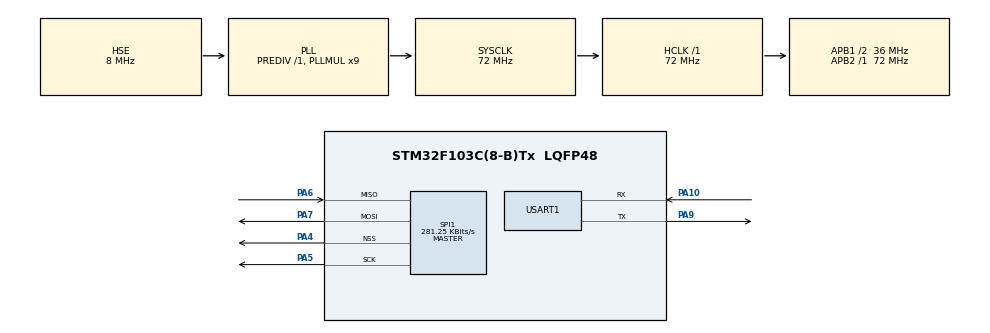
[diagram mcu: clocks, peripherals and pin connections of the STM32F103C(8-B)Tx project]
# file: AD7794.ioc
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Mcu.Family=STM32F1
Mcu.Name=STM32F103C(8-B)Tx
Mcu.Package=LQFP48
NVIC.PriorityGroup=NVIC_PRIORITYGROUP_4
NVIC.USART1_IRQn=true\:0\:0\:false\:false\:true\:true\:true\:true
PA10.Mode=Asynchronous
PA10.Signal=USART1_RX
PA13.Mode=Serial_Wire
PA13.Signal=SYS_JTMS-SWDIO
PA14.Mode=Serial_Wire
PA14.Signal=SYS_JTCK-SWCLK
PA4.Mode=NSS_Signal_Hard_Output
PA4.Signal=SPI1_NSS
PA5.Mode=Full_Duplex_Master
PA5.Signal=SPI1_SCK
PA6.Mode=Full_Duplex_Master
PA6.Signal=SPI1_MISO
PA7.Mode=Full_Duplex_Master
PA7.Signal=SPI1_MOSI
PA9.Mode=Asynchronous
PA9.Signal=USART1_TX
PC14-OSC32_IN.Mode=LSE-External-Oscillator
PC14-OSC32_IN.Signal=RCC_OSC32_IN
PC15-OSC32_OUT.Mode=LSE-External-Oscillator
PC15-OSC32_OUT.Signal=RCC_OSC32_OUT
PD0-OSC_IN.Mode=HSE-External-Oscillator
PD0-OSC_IN.Signal=RCC_OSC_IN
PD1-OSC_OUT.Mode=HSE-External-Oscillator
PD1-OSC_OUT.Signal=RCC_OSC_OUT
ProjectManager.HeapSize=0x200
ProjectManager.StackSize=0x400
ProjectManager.TargetToolchain=Makefile
RCC.AHBFreq_Value=72000000
RCC.APB1CLKDivider=RCC_HCLK_DIV2
RCC.APB1Freq_Value=36000000
RCC.APB1TimFreq_Value=72000000
RCC.APB2Freq_Value=72000000
RCC.APB2TimFreq_Value=72000000
RCC.HCLKFreq_Value=72000000
RCC.PLLMUL=RCC_PLL_MUL9
RCC.PLLSourceVirtual=RCC_PLLSOURCE_HSE
RCC.SYSCLKFreq_VALUE=72000000
RCC.SYSCLKSource=RCC_SYSCLKSOURCE_PLLCLK
RCC.USBFreq_Value=72000000
SPI1.BaudRatePrescaler=SPI_BAUDRATEPRESCALER_256
SPI1.CLKPhase=SPI_PHASE_2EDGE
SPI1.CLKPolarity=SPI_POLARITY_HIGH
SPI1.CalculateBaudRate=281.25 KBits/s
SPI1.Direction=SPI_DIRECTION_2LINES
SPI1.Mode=SPI_MODE_MASTER
SPI1.VirtualNSS=VM_NSSHARD
SPI1.VirtualType=VM_MASTER
USART1.VirtualMode=VM_ASYNC
board=custom

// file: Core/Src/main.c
/* USER CODE BEGIN Header */
/**
  ******************************************************************************
  * @file           : main.c
  * @brief          : Main program body
  ******************************************************************************
  * @attention
  *
  * Copyright (c) 2023 STMicroelectronics.
  * All rights reserved.
  *
  * This software is licensed under terms that can be found in the LICENSE file
  * in the root directory of this software component.
  * If no LICENSE file comes with this software, it is provided AS-IS.
  *
  ******************************************************************************
  */
/* USER CODE END Header */
#include "main.h"
#include "spi.h"
#include "usart.h"
#include "gpio.h"

/* USER CODE BEGIN Includes */
#include "AD7794A.h"
#include <stdio.h>
/* USER CODE END Includes */

/* USER CODE BEGIN PV */
char str[32];
/* USER CODE END PV */

void SystemClock_Config(void);

int main(void)
{

  /* MCU Configuration--------------------------------------------------------*/

  /* Reset of all peripherals, Initializes the Flash interface and the Systick. */
  HAL_Init();

  /* Configure the system clock */
  SystemClock_Config();

  /* Initialize all configured peripherals */
  MX_GPIO_Init();
  MX_SPI1_Init();
  MX_USART1_UART_Init();

  /* USER CODE BEGIN 2 */
  HAL_Delay(5000);

  AD7794_Init();
  HAL_UART_Transmit(&huart1,"\n\rAfter Init:\n\r\n", 16, 1000);
  Read_All_Regs();
  /* USER CODE END 2 */

  /* Infinite loop */
  /* USER CODE BEGIN WHILE */
  while (1)
  {

    uint32_t Data[7];
    HAL_Delay(5000);

    for(uint8_t i = 0; i < 7; i++)
    {
      Data[i] = AD7794_Single_Conversion(i);
    }

    for(uint8_t i = 0; i < 7; i++)
    {
      sprintf(str, "Value[%d] = ", i);
      HAL_UART_Transmit(&huart1, str, strlen(str), 1000);
      sprintf(str, "0x%08x\n", Data[i]);
      HAL_UART_Transmit(&huart1, str, strlen(str), 1000);
    }

    /* USER CODE END WHILE */

  }
}

void SystemClock_Config(void)
{
  RCC_OscInitTypeDef RCC_OscInitStruct = {0};
  RCC_ClkInitTypeDef RCC_ClkInitStruct = {0};

  /** Initializes the RCC Oscillators according to the specified parameters
  * in the RCC_OscInitTypeDef structure.
  */
  RCC_OscInitStruct.OscillatorType = RCC_OSCILLATORTYPE_HSE;
  RCC_OscInitStruct.HSEState = RCC_HSE_ON;
  RCC_OscInitStruct.HSEPredivValue = RCC_HSE_PREDIV_DIV1;
  RCC_OscInitStruct.HSIState = RCC_HSI_ON;
  RCC_OscInitStruct.PLL.PLLState = RCC_PLL_ON;
  RCC_OscInitStruct.PLL.PLLSource = RCC_PLLSOURCE_HSE;
  RCC_OscInitStruct.PLL.PLLMUL = RCC_PLL_MUL9;
  if (HAL_RCC_OscConfig(&RCC_OscInitStruct) != HAL_OK)
  {
    Error_Handler();
  }

  /** Initializes the CPU, AHB and APB buses clocks
  */
  RCC_ClkInitStruct.ClockType = RCC_CLOCKTYPE_HCLK|RCC_CLOCKTYPE_SYSCLK
                              |RCC_CLOCKTYPE_PCLK1|RCC_CLOCKTYPE_PCLK2;
  RCC_ClkInitStruct.SYSCLKSource = RCC_SYSCLKSOURCE_PLLCLK;
  RCC_ClkInitStruct.AHBCLKDivider = RCC_SYSCLK_DIV1;
  RCC_ClkInitStruct.APB1CLKDivider = RCC_HCLK_DIV2;
  RCC_ClkInitStruct.APB2CLKDivider = RCC_HCLK_DIV1;

  if (HAL_RCC_ClockConfig(&RCC_ClkInitStruct, FLASH_LATENCY_2) != HAL_OK)
  {
    Error_Handler();
  }
}

void Error_Handler(void)
{
  __disable_irq();
  while (1)
  {
  }
}
